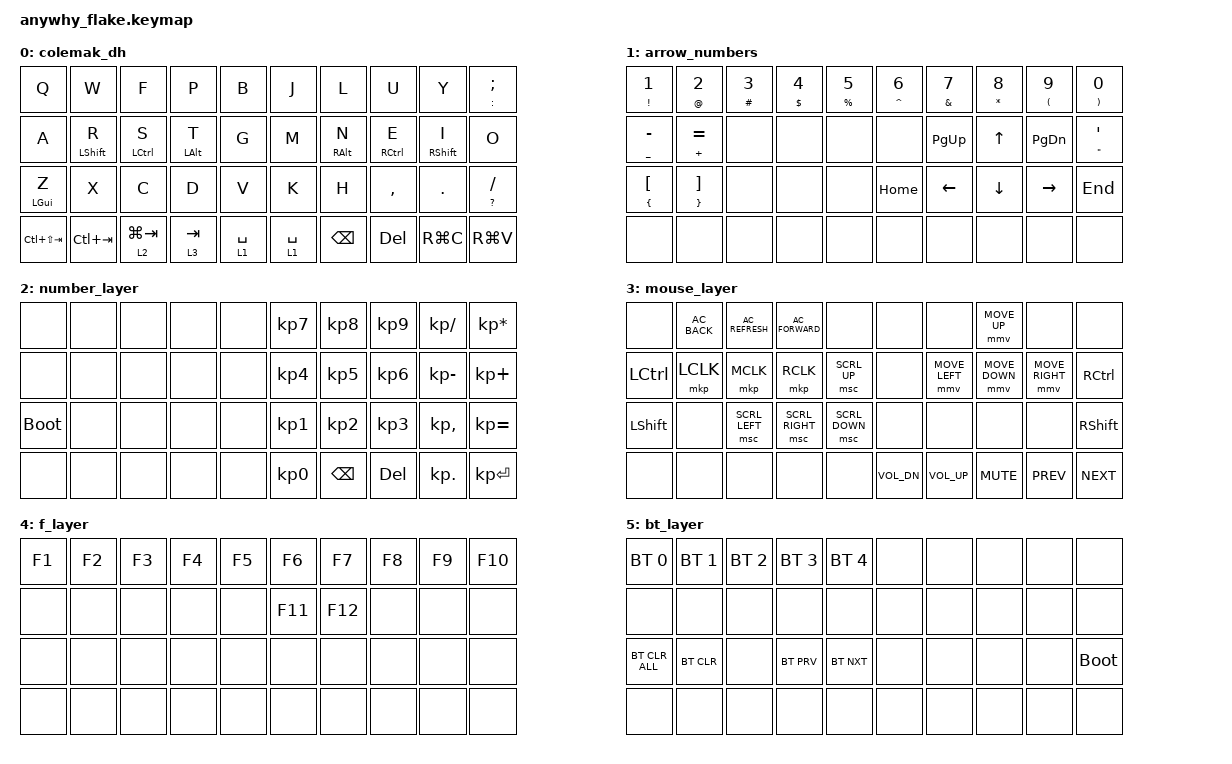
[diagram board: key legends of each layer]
#include <dt-bindings/zmk/mouse.h>
#include <input/processors.dtsi>
#include <behaviors.dtsi>
#include <dt-bindings/zmk/bt.h>
#include <dt-bindings/zmk/keys.h>
#include <dt-bindings/zmk/pointing.h>

/*

   &mmv_input_listener {
       input-processors = <&zip_xy_scaler 2 1>;
   };

   &msc_input_listener {
       input-processors = <&zip_xy_scaler 2 1>;
   };

 */

#define ZMK_MOUSE_DEFAULT_MOVE_VAL 1200  // 600
#define ZMK_MOUSE_DEFAULT_SCRL_VAL 20    // 10

&mt {
    tapping-term-ms = <200>;
    quick-tap-ms = <175>;
    flavor = "balanced";
    hold-trigger-key-positions = <16 17 18 13 12 11 20>;
    hold-trigger-on-release;
};

&mmv {
};

&msc {
};

&lt {
};

/ {
    behaviors {
        mmv {
            acceleration-exponent = <1>;      // 1
            time-to-max-speed-ms = <900>;    // 40
            delay-ms = <0>;                   // 0
        };

        msc {
            acceleration-exponent = <1>;      // 0
            time-to-max-speed-ms = <400>;      // 500
            delay-ms = <0>;                   //   10
        };
    };

    combos {
        compatible = "zmk,combos";

        a {
            bindings = <&mt GRAVE ESCAPE>;
            key-positions = <0 1>;
            layers = <1 0 4>;
        };

        b {
            bindings = <&kp CLCK>;
            key-positions = <10 11 12>;
        };

        d {
            bindings = <&kp DEL>;
            key-positions = <9 8>;
        };

        e {
            bindings = <&kp ENTER>;
            key-positions = <18 17>;
        };

        h {
            bindings = <&sys_reset>;
            key-positions = <1 12 23>;
        };

        j {
            bindings = <&sys_reset>;
            key-positions = <44 8 17 26>;
        };

        Backslash_pipe {
            bindings = <&mt PIPE BACKSLASH>;
            key-positions = <46 45 29 28>;
        };

        print_screen {
            bindings = <&screenshot>;
            key-positions = <20 21 22>;
        };

        num_layer {
            bindings = <&to 4>;
            key-positions = <5 6 7>;
        };

        bt_layer {
            bindings = <&to 5>;
            key-positions = <4 3 2>;
        };

        default_layer {
            bindings = <&to 0>;
            key-positions = <15 16 17 18>;
        };

        f_layer {
            bindings = <&to 4>;
            key-positions = <14 13 12 11>;
        };

        Tilde {
            bindings = <&mt LS(GRAVE) GRAVE>;
            key-positions = <0 1>;
            layers = <3 2>;
        };

        play-pause {
            bindings = <&kp C_PLAY_PAUSE>;
            key-positions = <57 56 39 38>;
            layers = <3>;
        };

        ubuntu_print {
            bindings = <&kp PRINTSCREEN>;
            key-positions = <20 21 23>;
        };
    };

    macros {
        screenshot: screenshot {
            compatible = "zmk,behavior-macro";
            #binding-cells = <0>;
            bindings =
                <&macro_press>,
                <&kp LS(LEFT_GUI)>,
                <&macro_tap>,
                <&kp S>,
                <&macro_release>,
                <&kp LS(LEFT_GUI)>;

            label = "SCREENSHOT";
        };
    };

    keymap {
        compatible = "zmk,keymap";

        colemak_dh {
            bindings = <
  &kp Q            &kp W             &kp F          &kp P           &kp B          &kp J        &kp L            &kp U        &kp Y              &mt COLON SEMI
  &kp A            &mt LEFT_SHIFT R  &mt LCTRL S    &mt LEFT_ALT T  &kp G          &kp M        &mt RIGHT_ALT N  &mt RCTRL E  &mt RIGHT_SHIFT I  &kp O
  &mt LEFT_GUI Z   &kp X             &kp C          &kp D           &kp V          &kp K        &kp H            &kp COMMA    &kp DOT            &mt QUESTION SLASH
  &kp LC(LS(TAB))  &kp LC(TAB)       &lt 2 LG(TAB)  &lt 3 TAB       &lt 1 SPACE    &lt 1 SPACE  &kp BACKSPACE    &kp DELETE   &kp RG(C)          &kp RG(V)
            >;
        };

        arrow_numbers {
            bindings = <
  &mt EXCLAMATION NUMBER_1     &mt AT_SIGN NUMBER_2           &mt HASH NUMBER_3  &mt DOLLAR NUMBER_4  &mt PERCENT NUMBER_5    &mt CARET NUMBER_6  &mt AMPERSAND NUMBER_7  &mt ASTERISK NUMBER_8  &mt LEFT_PARENTHESIS NUMBER_9  &mt RIGHT_PARENTHESIS NUMBER_0
  &mt UNDERSCORE MINUS         &mt PLUS EQUAL                 &none              &none                &none                   &none               &kp PAGE_UP             &kp UP_ARROW           &kp PAGE_DOWN                  &mt DOUBLE_QUOTES SQT
  &mt LEFT_BRACE LEFT_BRACKET  &mt RIGHT_BRACE RIGHT_BRACKET  &none              &none                &none                   &kp HOME            &kp LEFT_ARROW          &kp DOWN               &kp RIGHT_ARROW                &kp END
  &none                        &none                          &none              &none                &none                   &none               &none                   &none                  &none                          &none
            >;
        };

        number_layer {
            bindings = <
  &none        &none  &none  &none  &none    &kp KP_NUMBER_7  &kp KP_NUMBER_8  &kp KP_NUMBER_9  &kp KP_DIVIDE    &kp KP_MULTIPLY
  &none        &none  &none  &none  &none    &kp KP_NUMBER_4  &kp KP_NUMBER_5  &kp KP_NUMBER_6  &kp KP_SUBTRACT  &kp KP_PLUS
  &bootloader  &none  &none  &none  &none    &kp KP_NUMBER_1  &kp KP_NUMBER_2  &kp KP_NUMBER_3  &kp KP_COMMA     &kp KP_EQUAL
  &none        &none  &none  &none  &none    &kp KP_NUMBER_0  &kp BACKSPACE    &kp DEL          &kp KP_DOT       &kp KP_ENTER
            >;
        };

        mouse_layer {
            bindings = <
  &none           &kp C_AC_BACK  &kp C_AC_REFRESH  &kp C_AC_FORWARD  &none             &none         &none           &mmv MOVE_UP    &none            &none
  &kp LCTRL       &mkp LCLK      &mkp MCLK         &mkp RCLK         &msc SCRL_UP      &none         &mmv MOVE_LEFT  &mmv MOVE_DOWN  &mmv MOVE_RIGHT  &kp RCTRL
  &kp LEFT_SHIFT  &none          &msc SCRL_LEFT    &msc SCRL_RIGHT   &msc SCRL_DOWN    &none         &none           &none           &none            &kp RIGHT_SHIFT
  &none           &none          &none             &none             &none             &kp C_VOL_DN  &kp C_VOL_UP    &kp K_MUTE      &kp C_PREV       &kp C_NEXT
            >;
        };

        f_layer {
            bindings = <
  &kp F1  &kp F2  &kp F3  &kp F4  &kp F5    &kp F6   &kp F7   &kp F8  &kp F9  &kp F10
  &none   &none   &none   &none   &none     &kp F11  &kp F12  &none   &none   &none
  &none   &none   &none   &none   &none     &none    &none    &none   &none   &none
  &none   &none   &none   &none   &none     &none    &none    &none   &none   &none
            >;
        };

        bt_layer {
            bindings = <
  &bt BT_SEL 0    &bt BT_SEL 1  &bt BT_SEL 2  &bt BT_SEL 3  &bt BT_SEL 4    &none  &none  &none  &none  &none
  &none           &none         &none         &none         &none           &none  &none  &none  &none  &none
  &bt BT_CLR_ALL  &bt BT_CLR    &none         &bt BT_PRV    &bt BT_NXT      &none  &none  &none  &none  &bootloader
  &none           &none         &none         &none         &none           &none  &none  &none  &none  &none
            >;
        };
    };
};
